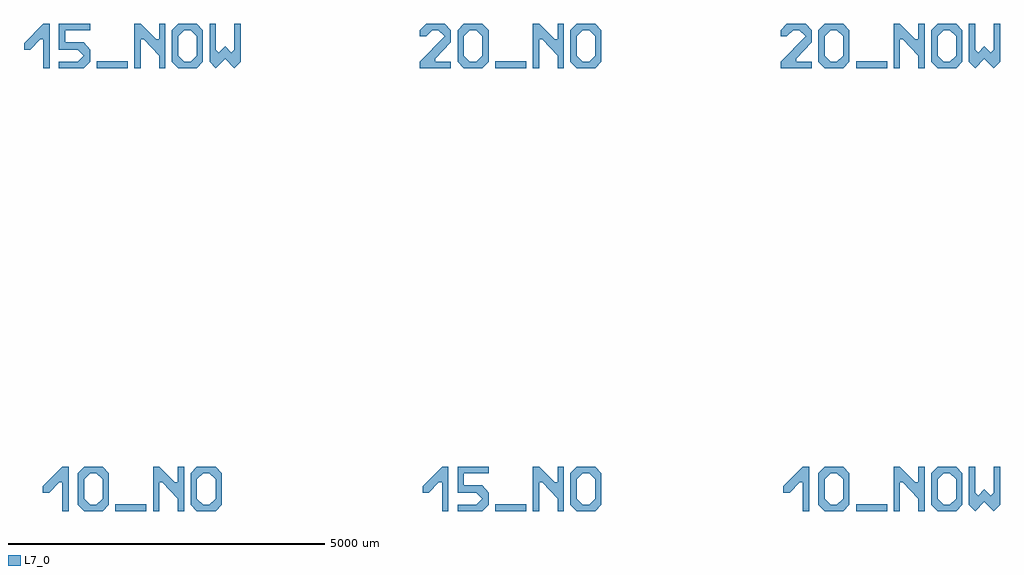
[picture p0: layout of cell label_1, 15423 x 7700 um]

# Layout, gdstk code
import gdstk
lib = gdstk.Library(unit=1e-6, precision=5e-09)
def R(c, l, rs):  # rectangles x0, y0, x1, y1
    for r in rs: c.add(gdstk.rectangle(r[:2], r[2:], *l))
def P(c, l, *ps):  # polygons
    for p in ps: c.add(gdstk.Polygon(p, *l))
L7_0 = (7, 0)

label_1 = lib.new_cell('label_1')
R(label_1, L7_0, [(-245,-700,245,-588), (5755,-700,6245,-588), (11457.5,-700,11947.5,-588), (-542.5,6300,-52.5,6412), (5755,6300,6245,6412), (11457.5,6300,11947.5,6412)])
P(label_1, L7_0, [(-987,-700),(-987,0),(-1085,0),(-1393,-308),(-1393,-406),(-1295,-406),(-1134,-245),(-1085,-245),(-1085,-700)],
  [(-644,-700),(-644,-602),(-742,-504),(-742,-196),(-644,-98),(-546,-98),(-448,-196),(-448,-504),(-546,-602),(-644,-602),(-644,-700),(-448,-700),(-350,-602),(-350,-98),(-448,0),(-742,0),(-840,-98),(-840,-602),(-742,-700)],
  [(448,-700),(448,-245),(497,-245),(742,-504),(742,-700),(840,-700),(840,0),(742,0),(742,-245),(693,-245),(448,0),(350,0),(350,-700)],
  [(1141,-700),(1141,-602),(1043,-504),(1043,-196),(1141,-98),(1239,-98),(1337,-196),(1337,-504),(1239,-602),(1141,-602),(1141,-700),(1337,-700),(1435,-602),(1435,-98),(1337,0),(1043,0),(945,-98),(945,-602),(1043,-700)],
  [(5055,6300),(5055,6398),(4810,6398),(4810,6447),(5055,6706),(5055,6902),(4957,7000),(4663,7000),(4565,6902),(4565,6804),(4663,6804),(4761,6902),(4859,6902),(4957,6804),(4565,6398),(4565,6300)],
  [(5356,6300),(5356,6398),(5258,6496),(5258,6804),(5356,6902),(5454,6902),(5552,6804),(5552,6496),(5454,6398),(5356,6398),(5356,6300),(5552,6300),(5650,6398),(5650,6902),(5552,7000),(5258,7000),(5160,6902),(5160,6398),(5258,6300)],
  [(6448,6300),(6448,6755),(6497,6755),(6742,6496),(6742,6300),(6840,6300),(6840,7000),(6742,7000),(6742,6755),(6693,6755),(6448,7000),(6350,7000),(6350,6300)],
  [(7141,6300),(7141,6398),(7043,6496),(7043,6804),(7141,6902),(7239,6902),(7337,6804),(7337,6496),(7239,6398),(7141,6398),(7141,6300),(7337,6300),(7435,6398),(7435,6902),(7337,7000),(7043,7000),(6945,6902),(6945,6398),(7043,6300)],
  [(-1284.5,6300),(-1284.5,7000),(-1382.5,7000),(-1690.5,6692),(-1690.5,6594),(-1592.5,6594),(-1431.5,6755),(-1382.5,6755),(-1382.5,6300)],
  [(-745.5,6300),(-647.5,6398),(-647.5,6594),(-745.5,6706),(-1039.5,6706),(-1039.5,6902),(-647.5,6902),(-647.5,7000),(-1137.5,7000),(-1137.5,6594),(-843.5,6594),(-745.5,6496),(-843.5,6398),(-1137.5,6398),(-1137.5,6300)],
  [(150.5,6300),(150.5,6755),(199.5,6755),(444.5,6496),(444.5,6300),(542.5,6300),(542.5,7000),(444.5,7000),(444.5,6755),(395.5,6755),(150.5,7000),(52.5,7000),(52.5,6300)],
  [(843.5,6300),(843.5,6398),(745.5,6496),(745.5,6804),(843.5,6902),(941.5,6902),(1039.5,6804),(1039.5,6496),(941.5,6398),(843.5,6398),(843.5,6300),(1039.5,6300),(1137.5,6398),(1137.5,6902),(1039.5,7000),(745.5,7000),(647.5,6902),(647.5,6398),(745.5,6300)],
  [(1242.5,6398),(1340.5,6300),(1487.5,6447),(1634.5,6300),(1732.5,6398),(1732.5,7000),(1634.5,7000),(1634.5,6594),(1585.5,6545),(1487.5,6643),(1389.5,6545),(1340.5,6594),(1340.5,7000),(1242.5,7000)],
  [(5013,-700),(5013,0),(4915,0),(4607,-308),(4607,-406),(4705,-406),(4866,-245),(4915,-245),(4915,-700)],
  [(5552,-700),(5650,-602),(5650,-406),(5552,-294),(5258,-294),(5258,-98),(5650,-98),(5650,0),(5160,0),(5160,-406),(5454,-406),(5552,-504),(5454,-602),(5160,-602),(5160,-700)],
  [(6448,-700),(6448,-245),(6497,-245),(6742,-504),(6742,-700),(6840,-700),(6840,0),(6742,0),(6742,-245),(6693,-245),(6448,0),(6350,0),(6350,-700)],
  [(7141,-700),(7141,-602),(7043,-504),(7043,-196),(7141,-98),(7239,-98),(7337,-196),(7337,-504),(7239,-602),(7141,-602),(7141,-700),(7337,-700),(7435,-602),(7435,-98),(7337,0),(7043,0),(6945,-98),(6945,-602),(7043,-700)],
  [(10715.5,-700),(10715.5,0),(10617.5,0),(10309.5,-308),(10309.5,-406),(10407.5,-406),(10568.5,-245),(10617.5,-245),(10617.5,-700)],
  [(11058.5,-700),(11058.5,-602),(10960.5,-504),(10960.5,-196),(11058.5,-98),(11156.5,-98),(11254.5,-196),(11254.5,-504),(11156.5,-602),(11058.5,-602),(11058.5,-700),(11254.5,-700),(11352.5,-602),(11352.5,-98),(11254.5,0),(10960.5,0),(10862.5,-98),(10862.5,-602),(10960.5,-700)],
  [(12150.5,-700),(12150.5,-245),(12199.5,-245),(12444.5,-504),(12444.5,-700),(12542.5,-700),(12542.5,0),(12444.5,0),(12444.5,-245),(12395.5,-245),(12150.5,0),(12052.5,0),(12052.5,-700)],
  [(12843.5,-700),(12843.5,-602),(12745.5,-504),(12745.5,-196),(12843.5,-98),(12941.5,-98),(13039.5,-196),(13039.5,-504),(12941.5,-602),(12843.5,-602),(12843.5,-700),(13039.5,-700),(13137.5,-602),(13137.5,-98),(13039.5,0),(12745.5,0),(12647.5,-98),(12647.5,-602),(12745.5,-700)],
  [(13242.5,-602),(13340.5,-700),(13487.5,-553),(13634.5,-700),(13732.5,-602),(13732.5,0),(13634.5,0),(13634.5,-406),(13585.5,-455),(13487.5,-357),(13389.5,-455),(13340.5,-406),(13340.5,0),(13242.5,0)],
  [(10757.5,6300),(10757.5,6398),(10512.5,6398),(10512.5,6447),(10757.5,6706),(10757.5,6902),(10659.5,7000),(10365.5,7000),(10267.5,6902),(10267.5,6804),(10365.5,6804),(10463.5,6902),(10561.5,6902),(10659.5,6804),(10267.5,6398),(10267.5,6300)],
  [(11058.5,6300),(11058.5,6398),(10960.5,6496),(10960.5,6804),(11058.5,6902),(11156.5,6902),(11254.5,6804),(11254.5,6496),(11156.5,6398),(11058.5,6398),(11058.5,6300),(11254.5,6300),(11352.5,6398),(11352.5,6902),(11254.5,7000),(10960.5,7000),(10862.5,6902),(10862.5,6398),(10960.5,6300)],
  [(12150.5,6300),(12150.5,6755),(12199.5,6755),(12444.5,6496),(12444.5,6300),(12542.5,6300),(12542.5,7000),(12444.5,7000),(12444.5,6755),(12395.5,6755),(12150.5,7000),(12052.5,7000),(12052.5,6300)],
  [(12843.5,6300),(12843.5,6398),(12745.5,6496),(12745.5,6804),(12843.5,6902),(12941.5,6902),(13039.5,6804),(13039.5,6496),(12941.5,6398),(12843.5,6398),(12843.5,6300),(13039.5,6300),(13137.5,6398),(13137.5,6902),(13039.5,7000),(12745.5,7000),(12647.5,6902),(12647.5,6398),(12745.5,6300)],
  [(13242.5,6398),(13340.5,6300),(13487.5,6447),(13634.5,6300),(13732.5,6398),(13732.5,7000),(13634.5,7000),(13634.5,6594),(13585.5,6545),(13487.5,6643),(13389.5,6545),(13340.5,6594),(13340.5,7000),(13242.5,7000)])

lib.write_gds('label_1.gds')
